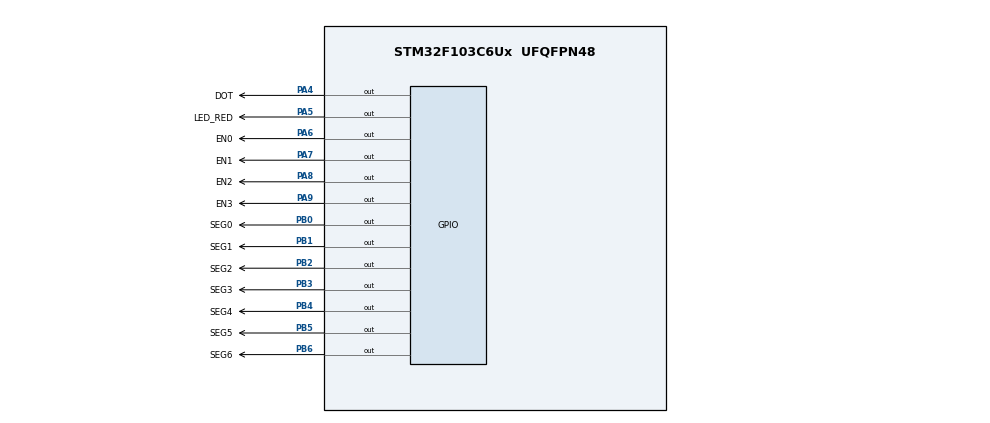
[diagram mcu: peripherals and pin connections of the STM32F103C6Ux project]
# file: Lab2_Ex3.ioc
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Mcu.Family=STM32F1
Mcu.Name=STM32F103C6Ux
Mcu.Package=UFQFPN48
NVIC.PriorityGroup=NVIC_PRIORITYGROUP_4
NVIC.TIM2_IRQn=true\:0\:0\:false\:false\:true\:true\:true
PA4.GPIO_Label=DOT
PA4.Signal=GPIO_Output
PA5.GPIO_Label=LED_RED
PA5.Signal=GPIO_Output
PA6.GPIO_Label=EN0
PA6.Signal=GPIO_Output
PA7.GPIO_Label=EN1
PA7.Signal=GPIO_Output
PA8.GPIO_Label=EN2
PA8.Signal=GPIO_Output
PA9.GPIO_Label=EN3
PA9.Signal=GPIO_Output
PB0.GPIO_Label=SEG0
PB0.Signal=GPIO_Output
PB1.GPIO_Label=SEG1
PB1.Signal=GPIO_Output
PB2.GPIO_Label=SEG2
PB2.Signal=GPIO_Output
PB3.GPIO_Label=SEG3
PB3.Signal=GPIO_Output
PB4.GPIO_Label=SEG4
PB4.Signal=GPIO_Output
PB5.GPIO_Label=SEG5
PB5.Signal=GPIO_Output
PB6.GPIO_Label=SEG6
PB6.Signal=GPIO_Output
ProjectManager.HeapSize=0x200
ProjectManager.StackSize=0x400
ProjectManager.TargetToolchain=STM32CubeIDE
RCC.APB1Freq_Value=8000000
RCC.APB2Freq_Value=8000000
TIM2.Period=9
TIM2.Prescaler=7999
VP_SYS_VS_ND.Mode=No_Debug
VP_TIM2_VS_ClockSourceINT.Mode=Internal
board=custom

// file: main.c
/* USER CODE BEGIN Header */
/**
  ******************************************************************************
  * @file           : main.c
  * @brief          : Main program body
  ******************************************************************************
  * @attention
  *
  * <h2><center>&copy; Copyright (c) 2022 STMicroelectronics.
  * All rights reserved.</center></h2>
  *
  * This software component is licensed by ST under BSD 3-Clause license,
  * the "License"; You may not use this file except in compliance with the
  * License. You may obtain a copy of the License at:
  *                        opensource.org/licenses/BSD-3-Clause
  *
  ******************************************************************************
  */
/* USER CODE END Header */
#include "main.h"

TIM_HandleTypeDef htim2;

void SystemClock_Config(void);
static void MX_GPIO_Init(void);
static void MX_TIM2_Init(void);

/* USER CODE BEGIN 0 */

int TIMER_CYCLE = 10;

int timer0_counter = 0;
int timer0_flag = 0;
int timer1_counter = 0;
int timer1_flag = 0;

void setTimer0 ( int duration ) {
	timer0_counter = duration / TIMER_CYCLE ;
	timer0_flag = 0;
}
void setTimer1 ( int duration ) {
	timer1_counter = duration / TIMER_CYCLE ;
	timer1_flag = 0;
}
void timer_run () {
	if( timer0_counter > 0) {
		timer0_counter--;
		if( timer0_counter == 0) timer0_flag = 1;
	}
	if( timer1_counter > 0) {
		timer1_counter--;
		if( timer1_counter == 0) timer1_flag = 1;
	}
}

void display7SEG(int num){
	if(num == 0){
		GPIOB->ODR = ~(0x003F);
	}
	if(num == 1){
			GPIOB->ODR = ~(0x0006);
		}
	if(num == 2){
			GPIOB->ODR = ~(0x005B);
		}
	if(num == 3){
			GPIOB->ODR = ~(0x004F);
		}
	if(num == 4){
			GPIOB->ODR = ~(0x0066);
		}
	if(num == 5){
			GPIOB->ODR = ~(0x006D);
		}
	if(num == 6){
			GPIOB->ODR = ~(0x007D);
		}
	if(num == 7){
			GPIOB->ODR = ~(0x0007);
		}
	if(num == 8){
			GPIOB->ODR = ~(0x007F);
		}
	if(num == 9){
			GPIOB->ODR = ~(0x006F);
		}
}
void setEnPin(int num){
	if(num == 0){
		HAL_GPIO_WritePin(EN0_GPIO_Port, EN0_Pin, RESET);
		HAL_GPIO_WritePin(EN1_GPIO_Port, EN1_Pin, SET);
		HAL_GPIO_WritePin(EN2_GPIO_Port, EN2_Pin, SET);
		HAL_GPIO_WritePin(EN3_GPIO_Port, EN3_Pin, SET);
	}
	if(num == 1){
		HAL_GPIO_WritePin(EN0_GPIO_Port, EN0_Pin, SET);
		HAL_GPIO_WritePin(EN1_GPIO_Port, EN1_Pin, RESET);
		HAL_GPIO_WritePin(EN2_GPIO_Port, EN2_Pin, SET);
		HAL_GPIO_WritePin(EN3_GPIO_Port, EN3_Pin, SET);
		}
	if(num == 2){
		HAL_GPIO_WritePin(EN0_GPIO_Port, EN0_Pin, SET);
		HAL_GPIO_WritePin(EN1_GPIO_Port, EN1_Pin, SET);
		HAL_GPIO_WritePin(EN2_GPIO_Port, EN2_Pin, RESET);
		HAL_GPIO_WritePin(EN3_GPIO_Port, EN3_Pin, SET);
		}
	if(num == 3){
		HAL_GPIO_WritePin(EN0_GPIO_Port, EN0_Pin, SET);
		HAL_GPIO_WritePin(EN1_GPIO_Port, EN1_Pin, SET);
		HAL_GPIO_WritePin(EN2_GPIO_Port, EN2_Pin, SET);
		HAL_GPIO_WritePin(EN3_GPIO_Port, EN3_Pin, RESET);
		}
}

int led_buffer [4] = {1 , 2 , 3 , 4};
void update7SEG ( int index ) {
	switch ( index ) {
	case 0:
		setEnPin(index);
		display7SEG(led_buffer [0]);
		HAL_GPIO_WritePin(LED_RED_GPIO_Port, LED_RED_Pin, RESET);
		//HAL_GPIO_WritePin(DOT_GPIO_Port, DOT_Pin, SET);
		// Display the first 7 SEG with led_buffer [0]
		break ;
	case 1:
		setEnPin(index);
		display7SEG(led_buffer [1]);
		HAL_GPIO_WritePin(LED_RED_GPIO_Port, LED_RED_Pin, SET);
		// Display the second 7 SEG with led_buffer [1]
		break ;
	case 2:
		setEnPin(index);
		display7SEG(led_buffer [2]);
		HAL_GPIO_WritePin(LED_RED_GPIO_Port, LED_RED_Pin, RESET);
		//HAL_GPIO_WritePin(DOT_GPIO_Port, DOT_Pin, RESET);
		// Display the third 7 SEG with led_buffer [2]
		break ;
	case 3:
		setEnPin(index);
		display7SEG(led_buffer [3]);
		HAL_GPIO_WritePin(LED_RED_GPIO_Port, LED_RED_Pin, SET);
		// Display the forth 7 SEG with led_buffer [3]
		break ;
	default :
		break ;
	}
}

void updateClockBuffer(int hour, int minute){
	led_buffer [0] = hour/10;
	led_buffer [1] = hour%10;
	led_buffer [2] = minute/10;
	led_buffer [3] = minute%10;
}
const int MAX_COUNTER = 25;
int counter = MAX_COUNTER;
const int MAX_LED = 4;
int index_led = 0;
/* USER CODE END 0 */

int main(void)
{

  /* MCU Configuration--------------------------------------------------------*/

  /* Reset of all peripherals, Initializes the Flash interface and the Systick. */
  HAL_Init();

  /* Configure the system clock */
  SystemClock_Config();

  /* Initialize all configured peripherals */
  MX_GPIO_Init();
  MX_TIM2_Init();
  /* USER CODE BEGIN 2 */
  HAL_TIM_Base_Start_IT (& htim2 ) ;
  /* USER CODE END 2 */

  /* Infinite loop */
  /* USER CODE BEGIN WHILE */
  int hour = 15 , minute = 57 , second = 00;
  setTimer0(10);
  setTimer1(10);

  while (1)
  {
    /* USER CODE END WHILE */

	  //second++;
	  if(second >= 60) {
		  second = 0;
		  minute ++;
	  }
	  if(minute >= 60) {
		  minute = 0;
		  hour ++;
	  }
	  if(hour >= 24) {
		  hour = 0;
	  }

	  updateClockBuffer(hour, minute);
	  update7SEG(index_led);

	  if(timer0_flag == 1){
		  second ++;
		  HAL_GPIO_TogglePin(DOT_GPIO_Port, DOT_Pin);
		  setTimer0(1000);
	  }

	  if(timer1_flag == 1){
		  if(index_led >= 3) index_led = 0;
		  else index_led++;
		  setTimer1(500);
	  }
	  //HAL_Delay(1000) ;
  }

}

void SystemClock_Config(void)
{
  RCC_OscInitTypeDef RCC_OscInitStruct = {0};
  RCC_ClkInitTypeDef RCC_ClkInitStruct = {0};

  /** Initializes the RCC Oscillators according to the specified parameters
  * in the RCC_OscInitTypeDef structure.
  */
  RCC_OscInitStruct.OscillatorType = RCC_OSCILLATORTYPE_HSI;
  RCC_OscInitStruct.HSIState = RCC_HSI_ON;
  RCC_OscInitStruct.HSICalibrationValue = RCC_HSICALIBRATION_DEFAULT;
  RCC_OscInitStruct.PLL.PLLState = RCC_PLL_NONE;
  if (HAL_RCC_OscConfig(&RCC_OscInitStruct) != HAL_OK)
  {
    Error_Handler();
  }
  /** Initializes the CPU, AHB and APB buses clocks
  */
  RCC_ClkInitStruct.ClockType = RCC_CLOCKTYPE_HCLK|RCC_CLOCKTYPE_SYSCLK
                              |RCC_CLOCKTYPE_PCLK1|RCC_CLOCKTYPE_PCLK2;
  RCC_ClkInitStruct.SYSCLKSource = RCC_SYSCLKSOURCE_HSI;
  RCC_ClkInitStruct.AHBCLKDivider = RCC_SYSCLK_DIV1;
  RCC_ClkInitStruct.APB1CLKDivider = RCC_HCLK_DIV1;
  RCC_ClkInitStruct.APB2CLKDivider = RCC_HCLK_DIV1;

  if (HAL_RCC_ClockConfig(&RCC_ClkInitStruct, FLASH_LATENCY_0) != HAL_OK)
  {
    Error_Handler();
  }
}

static void MX_TIM2_Init(void)
{

  TIM_ClockConfigTypeDef sClockSourceConfig = {0};
  TIM_MasterConfigTypeDef sMasterConfig = {0};

  htim2.Instance = TIM2;
  htim2.Init.Prescaler = 7999;
  htim2.Init.CounterMode = TIM_COUNTERMODE_UP;
  htim2.Init.Period = 9;
  htim2.Init.ClockDivision = TIM_CLOCKDIVISION_DIV1;
  htim2.Init.AutoReloadPreload = TIM_AUTORELOAD_PRELOAD_DISABLE;
  if (HAL_TIM_Base_Init(&htim2) != HAL_OK)
  {
    Error_Handler();
  }
  sClockSourceConfig.ClockSource = TIM_CLOCKSOURCE_INTERNAL;
  if (HAL_TIM_ConfigClockSource(&htim2, &sClockSourceConfig) != HAL_OK)
  {
    Error_Handler();
  }
  sMasterConfig.MasterOutputTrigger = TIM_TRGO_RESET;
  sMasterConfig.MasterSlaveMode = TIM_MASTERSLAVEMODE_DISABLE;
  if (HAL_TIMEx_MasterConfigSynchronization(&htim2, &sMasterConfig) != HAL_OK)
  {
    Error_Handler();
  }

}

static void MX_GPIO_Init(void)
{
  GPIO_InitTypeDef GPIO_InitStruct = {0};

  /* GPIO Ports Clock Enable */
  __HAL_RCC_GPIOA_CLK_ENABLE();
  __HAL_RCC_GPIOB_CLK_ENABLE();

  /*Configure GPIO pin Output Level */
  HAL_GPIO_WritePin(GPIOA, DOT_Pin|LED_RED_Pin|EN0_Pin|EN1_Pin
                          |EN2_Pin|EN3_Pin, GPIO_PIN_RESET);

  /*Configure GPIO pin Output Level */
  HAL_GPIO_WritePin(GPIOB, SEG0_Pin|SEG1_Pin|SEG2_Pin|SEG3_Pin
                          |SEG4_Pin|SEG5_Pin|SEG6_Pin, GPIO_PIN_RESET);

  /*Configure GPIO pins : DOT_Pin LED_RED_Pin EN0_Pin EN1_Pin
                           EN2_Pin EN3_Pin */
  GPIO_InitStruct.Pin = DOT_Pin|LED_RED_Pin|EN0_Pin|EN1_Pin
                          |EN2_Pin|EN3_Pin;
  GPIO_InitStruct.Mode = GPIO_MODE_OUTPUT_PP;
  GPIO_InitStruct.Pull = GPIO_NOPULL;
  GPIO_InitStruct.Speed = GPIO_SPEED_FREQ_LOW;
  HAL_GPIO_Init(GPIOA, &GPIO_InitStruct);

  /*Configure GPIO pins : SEG0_Pin SEG1_Pin SEG2_Pin SEG3_Pin
                           SEG4_Pin SEG5_Pin SEG6_Pin */
  GPIO_InitStruct.Pin = SEG0_Pin|SEG1_Pin|SEG2_Pin|SEG3_Pin
                          |SEG4_Pin|SEG5_Pin|SEG6_Pin;
  GPIO_InitStruct.Mode = GPIO_MODE_OUTPUT_PP;
  GPIO_InitStruct.Pull = GPIO_NOPULL;
  GPIO_InitStruct.Speed = GPIO_SPEED_FREQ_LOW;
  HAL_GPIO_Init(GPIOB, &GPIO_InitStruct);

}

/* USER CODE BEGIN 4 */
int Dot_status = 0;
void HAL_TIM_PeriodElapsedCallback ( TIM_HandleTypeDef * htim )
{
	//ex4
//	counter--;
//	update7SEG(index_led);
//	if(counter <= 0){
//		counter = MAX_COUNTER;
//		if(index_led >= MAX_LED) index_led = 0;
//		else index_led++;
//
//		// thay doi DOT
//		if(Dot_status >= 2){
//			Dot_status = 0;
//			HAL_GPIO_TogglePin(DOT_GPIO_Port, DOT_Pin);
//		}
//		else Dot_status++;
//	}
	timer_run();
}
/* USER CODE END 4 */

void Error_Handler(void)
{
  __disable_irq();
  while (1)
  {
  }
}

/************************ (C) COPYRIGHT STMicroelectronics *****END OF FILE****/
